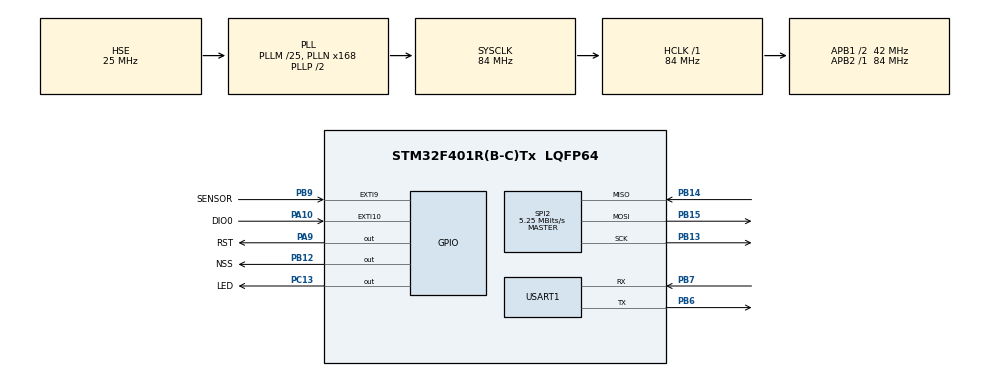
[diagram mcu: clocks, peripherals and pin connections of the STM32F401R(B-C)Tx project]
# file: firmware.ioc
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Mcu.Family=STM32F4
Mcu.Name=STM32F401R(B-C)Tx
Mcu.Package=LQFP64
NVIC.EXTI15_10_IRQn=true\:0\:0\:false\:false\:true\:true\:true\:true
NVIC.EXTI9_5_IRQn=true\:0\:0\:false\:false\:true\:true\:true\:true
NVIC.PriorityGroup=NVIC_PRIORITYGROUP_4
PA10.GPIO_Label=DIO0
PA10.Signal=GPXTI10
PA13.Mode=Serial_Wire
PA13.Signal=SYS_JTMS-SWDIO
PA14.Mode=Serial_Wire
PA14.Signal=SYS_JTCK-SWCLK
PA9.GPIO_Label=RST
PA9.PinState=GPIO_PIN_SET
PA9.Signal=GPIO_Output
PB12.GPIO_Label=NSS
PB12.PinState=GPIO_PIN_SET
PB12.Signal=GPIO_Output
PB13.Mode=Full_Duplex_Master
PB13.Signal=SPI2_SCK
PB14.Mode=Full_Duplex_Master
PB14.Signal=SPI2_MISO
PB15.Mode=Full_Duplex_Master
PB15.Signal=SPI2_MOSI
PB6.Mode=Asynchronous
PB6.Signal=USART1_TX
PB7.Mode=Asynchronous
PB7.Signal=USART1_RX
PB9.GPIO_Label=SENSOR
PB9.GPIO_ModeDefaultEXTI=GPIO_MODE_IT_FALLING
PB9.Signal=GPXTI9
PC13-ANTI_TAMP.GPIO_Label=LED
PC13-ANTI_TAMP.Signal=GPIO_Output
PH0\ -\ OSC_IN.Mode=HSE-External-Oscillator
PH0\ -\ OSC_IN.Signal=RCC_OSC_IN
PH1\ -\ OSC_OUT.Mode=HSE-External-Oscillator
PH1\ -\ OSC_OUT.Signal=RCC_OSC_OUT
ProjectManager.HeapSize=0x200
ProjectManager.StackSize=0x400
ProjectManager.TargetToolchain=Makefile
RCC.48MHZClocksFreq_Value=42000000
RCC.AHBFreq_Value=84000000
RCC.APB1CLKDivider=RCC_HCLK_DIV2
RCC.APB1Freq_Value=42000000
RCC.APB1TimFreq_Value=84000000
RCC.APB2Freq_Value=84000000
RCC.APB2TimFreq_Value=84000000
RCC.CortexFreq_Value=84000000
RCC.HCLKFreq_Value=84000000
RCC.HSE_VALUE=25000000
RCC.HSI_VALUE=16000000
RCC.LSE_VALUE=32768
RCC.PLLM=25
RCC.PLLN=168
RCC.PLLSourceVirtual=RCC_PLLSOURCE_HSE
RCC.SYSCLKFreq_VALUE=84000000
RCC.SYSCLKSource=RCC_SYSCLKSOURCE_PLLCLK
RCC.VCOOutputFreq_Value=168000000
SPI2.BaudRatePrescaler=SPI_BAUDRATEPRESCALER_8
SPI2.CalculateBaudRate=5.25 MBits/s
SPI2.Direction=SPI_DIRECTION_2LINES
SPI2.Mode=SPI_MODE_MASTER
SPI2.VirtualType=VM_MASTER
USART1.VirtualMode=VM_ASYNC
VP_CRC_VS_CRC.Mode=CRC_Activate
board=custom

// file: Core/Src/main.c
/* USER CODE BEGIN Header */
/**
  ******************************************************************************
  * @file           : main.c
  * @brief          : Main program body
  ******************************************************************************
  * @attention
  *
  * Copyright (c) 2024 STMicroelectronics.
  * All rights reserved.
  *
  * This software is licensed under terms that can be found in the LICENSE file
  * in the root directory of this software component.
  * If no LICENSE file comes with this software, it is provided AS-IS.
  *
  ******************************************************************************
  */
/* USER CODE END Header */
#include "main.h"
#include "crc.h"
#include "spi.h"
#include "stm32f4xx_hal.h"
#include "usart.h"
#include "gpio.h"

/* USER CODE BEGIN Includes */
#include <stdint.h>
#include <stdlib.h>

#include "LoRa.h"

#define DEVICE_TYPE_SENSOR
#include "common.h"
/* USER CODE END Includes */

/* USER CODE BEGIN PV */
uint8_t id = DEVICE_ID_INVALID;
uint8_t controller_id = DEVICE_ID_INVALID;
uint32_t mode = MODE_STARTUP;

int32_t lsntp_offset = 0;

/* LoRa object, receive buffer and flag */
LoRa rf;

uint32_t exti_rf = false;
uint32_t exti_rf_timestamp = 0;

uint8_t rf_buf[UINT8_MAX];

/* sensor receive flag */
uint32_t exti_sensor = false;
uint32_t exti_sensor_timestamp = 0;
/* USER CODE END PV */

void SystemClock_Config(void);

/* USER CODE BEGIN 0 */
void HAL_GPIO_EXTI_Callback(uint16_t GPIO_Pin) {
  // sensor detection
  if (GPIO_Pin == SENSOR_Pin) {
    exti_sensor = true;
    exti_sensor_timestamp = HAL_GetTick();
    DEBUG_MSG("sensor %lu\n", exti_sensor_timestamp);
  }

  // RF data received
  else if (GPIO_Pin == DIO0_Pin) {
    exti_rf = true;
    exti_rf_timestamp = HAL_GetTick();
    HAL_GPIO_WritePin(LED_GPIO_Port, LED_Pin, GPIO_PIN_RESET);
    DEBUG_MSG("rcv!\n");
  }
}

int _write(int file, uint8_t *ptr, int len) {
  HAL_UART_Transmit(&huart1, (uint8_t *)ptr, (uint16_t)len, 30);
  return (len);
}
/* USER CODE END 0 */

int main(void)
{

  /* MCU Configuration--------------------------------------------------------*/

  /* Reset of all peripherals, Initializes the Flash interface and the Systick. */
  HAL_Init();

  /* Configure the system clock */
  SystemClock_Config();

  /* Initialize all configured peripherals */
  MX_GPIO_Init();
  MX_SPI2_Init();
  MX_USART1_UART_Init();
  MX_CRC_Init();
  /* USER CODE BEGIN 2 */
  HAL_GPIO_WritePin(LED_GPIO_Port, LED_Pin, GPIO_PIN_SET);

  // get device id
  id = get_device_id();
  DEBUG_MSG("id: %u\n", id);

  // init Ra-01H LoRa transceiver
  rf = newLoRa();
  rf.CS_port = NSS_GPIO_Port;
  rf.CS_pin = NSS_Pin;
  rf.reset_port = RST_GPIO_Port;
  rf.reset_pin = RST_Pin;
  rf.DIO0_port = DIO0_GPIO_Port;
  rf.DIO0_pin = DIO0_Pin;
  rf.hSPIx = &hspi2;

  rf.frequency = 923;             // CH 30 922.9 Mhz
  rf.spredingFactor = SF_7;
  rf.bandWidth = BW_125KHz;
  rf.crcRate = CR_4_5;
  rf.power = POWER_14db;          // 25 mW
  rf.overCurrentProtection = 100; // 100 mA
  rf.preamble = 8;

  if (LoRa_init(&rf) != LORA_OK) {
    DEBUG_MSG("LoRa init failed\n");
    Error_Handler();
  }

  /***** read first 1KB of the SRAM to generate random seed *****/
  uint32_t sum = 0;

  for (uint32_t *i = (uint32_t *)0x20000000; i < (uint32_t *)0x20000400; i++) {
    sum += *i;
  }

  srand(sum);

  /*****************************************************************************
   * FSK-TC SENSOR workflow                                                    *
   *   1. LSNTP time sync x5                                                   *
   *   2. send READY and wait ACK                                              *
   *   3. send REPORT on sensor detection and wait ACK; repeat                 *
   ****************************************************************************/

  /*****************************************************************************
   * 1. do LSNTP 5 times and set offset as average
   ****************************************************************************/
  LoRa_startReceiving(&rf);

LSNTP:
  mode = MODE_LSNTP;

  lora_lsntp_req_t packet;
  packet.header.protocol = LORA_LSNTP_REQ;
  packet.header.sender = id;
  packet.header.receiver = LORA_ID_BROADCAST;

  uint8_t seq = 0;
  int32_t success = 0;
  int32_t retransmit = true;
  int32_t offset[LSNTP_ITER_COUNT];

  DEBUG_MSG("start LSNTP\n");

  while (true) {
    // too many failures
    if (seq > 15) {
      seq = 0;
    }

    if (retransmit) {
      packet.header.sequence = seq;
      packet.client_req_tx = HAL_GetTick();
      lora_set_checksum(&packet.header, sizeof(lora_lsntp_req_t));
      HAL_GPIO_WritePin(LED_GPIO_Port, LED_Pin, GPIO_PIN_RESET);
      LoRa_transmit(&rf, (uint8_t *)&packet, sizeof(lora_lsntp_req_t), LORA_TIMEOUT);
      HAL_GPIO_WritePin(LED_GPIO_Port, LED_Pin, GPIO_PIN_SET);

      DEBUG_MSG("LSNTP req #%u\n", seq);

      seq++;
      retransmit = false;
    }

    // busy wait for the reply
    while (!exti_rf) {
      // 500ms timeout
      if (HAL_GetTick() > packet.client_req_tx + LORA_TIMEOUT) {
        retransmit = true;
        break;
      }
    }

    // timeout; make new request
    if (retransmit) {
      DEBUG_MSG("  timeout!\n");
      HAL_Delay(300 + (rand() & 0xFF));
      continue;
    }

    // parse received packet
    lora_lsntp_res_t *pkt = (lora_lsntp_res_t *)rf_buf;
    uint8_t recv_bytes = LoRa_receive(&rf, rf_buf, sizeof(lora_lsntp_res_t));
    exti_rf = false;
    HAL_GPIO_WritePin(LED_GPIO_Port, LED_Pin, GPIO_PIN_SET);

    // no full packet received
    if (recv_bytes != sizeof(lora_lsntp_res_t)) {
      DEBUG_MSG("  packet length mismatch; received: %u, expected: %u\n", recv_bytes, sizeof(lora_lsntp_res_t));
      continue;
    }

    // checksum or receiver check failure
    int32_t ret = lora_verify(id, &pkt->header, sizeof(lora_lsntp_res_t));

    if (ret != LORA_STATUS_OK || pkt->header.receiver == LORA_ID_BROADCAST) {
      DEBUG_MSG("  packet verify failure; result: %ld\n", ret);
      continue;
    }

    // wrong packet
    if (pkt->header.protocol != LORA_LSNTP_RES || pkt->header.sequence != packet.header.sequence) {
      DEBUG_MSG("  packet mismatch; received: %u(%u), expected: %u(%u)\n",
                pkt->header.protocol, pkt->header.sequence, LORA_LSNTP_RES, packet.header.sequence);
      continue;
    }

    // calculate offset
    offset[success] = lsntp_calc_offset(pkt, exti_rf_timestamp);
    lsntp_offset += offset[success];
    DEBUG_MSG("  offset: %ld\n", offset[success]);

    // set controller id
    controller_id = pkt->header.sender;

    success++;
    retransmit = true;

    if (success >= LSNTP_ITER_COUNT) {
      break;
    }
  }

  lsntp_offset /= LSNTP_ITER_COUNT;

  for (int i = 0; i < LSNTP_ITER_COUNT; i++) {
    // acceptable error: 10ms
    if (
      ((offset[i] > lsntp_offset) && (offset[i] - lsntp_offset > 10)) ||
      ((offset[i] < lsntp_offset) && (lsntp_offset - offset[i] > 10))
    ) {
      goto LSNTP;
    }
  }

  DEBUG_MSG("done LSNTP. controller: %u, offset: %ld\n", controller_id, lsntp_offset);

  /*****************************************************************************
   * 2. send READY and wait for ACK
   ****************************************************************************/
  lora_ready_t ready_packet;
  ready_packet.header.protocol = LORA_READY;
  ready_packet.header.sender = id;
  ready_packet.header.receiver = controller_id;
  ready_packet.offset = lsntp_offset;

  seq = 0;
  retransmit = true;
  uint32_t transmit_time = 0;

  while (true) {
    if (seq > 15) {
      seq = 0;
    }

    ready_packet.header.sequence = seq;
    lora_set_checksum(&ready_packet.header, sizeof(lora_ready_t));
    HAL_GPIO_WritePin(LED_GPIO_Port, LED_Pin, GPIO_PIN_RESET);
    LoRa_transmit(&rf, (uint8_t *)&ready_packet, sizeof(lora_ready_t), LORA_TIMEOUT);
    HAL_GPIO_WritePin(LED_GPIO_Port, LED_Pin, GPIO_PIN_SET);
    transmit_time = HAL_GetTick();

    DEBUG_MSG("READY #%u\n", seq);

    seq++;
    retransmit = false;

    // busy wait for the ACK
    while (!exti_rf) {
      // 500ms timeout
      if (HAL_GetTick() > transmit_time + LORA_TIMEOUT) {
        retransmit = true;
        break;
      }
    }

    if (retransmit) {
      DEBUG_MSG("  timeout!\n");
      HAL_Delay(300 + (rand() & 0xFF));
      continue;
    }

    // parse received packet
    lora_ack_t *pkt = (lora_ack_t *)rf_buf;
    uint8_t recv_bytes = LoRa_receive(&rf, rf_buf, sizeof(lora_ack_t));
    exti_rf = false;
    HAL_GPIO_WritePin(LED_GPIO_Port, LED_Pin, GPIO_PIN_SET);

    // no full packet received
    if (recv_bytes != sizeof(lora_ack_t)) {
      DEBUG_MSG("  packet length mismatch; received: %u, expected: %u\n", recv_bytes, sizeof(lora_ack_t));
      continue;
    }

    // checksum or receiver check failure
    int32_t ret = lora_verify(id, &pkt->header, sizeof(lora_ack_t));

    if (ret != LORA_STATUS_OK || pkt->header.receiver == LORA_ID_BROADCAST) {
      DEBUG_MSG("  packet verify failure; result: %ld\n", ret);
      continue;
    }

    // wrong packet
    if (pkt->header.protocol != LORA_ACK || pkt->header.sequence != ready_packet.header.sequence) {
      DEBUG_MSG("  packet mismatch; received: %u(%u), expected: %u(%u)\n",
                pkt->header.protocol, pkt->header.sequence, LORA_ACK, ready_packet.header.sequence);
      continue;
    }

    break;
  }
  /* USER CODE END 2 */

  /* Infinite loop */
  /* USER CODE BEGIN WHILE */
  /*****************************************************************************
   * 3. send REPORT on sensor detection and wait ACK
   *    NOTE: device will not listen next sensor detection until ACK received
   ****************************************************************************/
  mode = MODE_OPERATION;
  HAL_GPIO_WritePin(LED_GPIO_Port, LED_Pin, GPIO_PIN_RESET);
  HAL_Delay(1000);
  HAL_GPIO_WritePin(LED_GPIO_Port, LED_Pin, GPIO_PIN_SET);

  lora_sensor_report_t report_packet;
  report_packet.header.protocol = LORA_SENSOR_REPORT;
  report_packet.header.sender = id;
  report_packet.header.receiver = controller_id;

  while (1) {
    HAL_Delay(1); // don't know why, but needed

    if (exti_sensor) {
      report_packet.timestamp = exti_sensor_timestamp + lsntp_offset;

      seq = 0;
      retransmit = true;

      while (true) {
        if (seq > 15) {
          seq = 0;
        }

        report_packet.header.sequence = seq;
        lora_set_checksum(&report_packet.header, sizeof(lora_sensor_report_t));
        HAL_GPIO_WritePin(LED_GPIO_Port, LED_Pin, GPIO_PIN_RESET);
        LoRa_transmit(&rf, (uint8_t *)&report_packet, sizeof(lora_sensor_report_t), 500);
        HAL_GPIO_WritePin(LED_GPIO_Port, LED_Pin, GPIO_PIN_SET);
        transmit_time = HAL_GetTick();

        DEBUG_MSG("REPORT #%u %lu\n", seq, report_packet.timestamp);

        seq++;
        retransmit = false;

        // busy wait for the ACK
        while (!exti_rf) {
          // 500ms timeout
          if (HAL_GetTick() > transmit_time + 500) {
            retransmit = true;
            break;
          }
        }

        if (retransmit) {
          DEBUG_MSG("  timeout!\n");
          HAL_Delay(300 + (rand() & 0xFF));
          continue;
        }

        // parse received packet
        lora_ack_t *pkt = (lora_ack_t *)rf_buf;
        uint8_t recv_bytes = LoRa_receive(&rf, rf_buf, sizeof(lora_ack_t));
        exti_rf = false;
        HAL_GPIO_WritePin(LED_GPIO_Port, LED_Pin, GPIO_PIN_SET);

        // no full packet received
        if (recv_bytes != sizeof(lora_ack_t)) {
          DEBUG_MSG("  packet length mismatch; received: %u, expected: %u\n", recv_bytes, sizeof(lora_ack_t));
          continue;
        }

        // checksum or receiver check failure
        int32_t ret = lora_verify(id, &pkt->header, sizeof(lora_ack_t));

        if (ret != LORA_STATUS_OK) {
          DEBUG_MSG("  packet verify failure; result: %ld\n", ret);
          HAL_Delay(rand() & 0xFF);
          continue;
        }

        // wrong packet
        if (
          pkt->header.receiver == LORA_ID_BROADCAST ||
          pkt->header.protocol != LORA_ACK ||
          pkt->header.sequence != report_packet.header.sequence
        ) {
          DEBUG_MSG("  packet mismatch; received: %u(%u), expected: %u(%u)\n",
                    pkt->header.protocol, pkt->header.sequence, LORA_ACK, report_packet.header.sequence);
          continue;
        }

        break;
      }

      exti_sensor = false;
    }

    // somebody else sent something
    else if (exti_rf) {
      exti_rf = false;
      HAL_GPIO_WritePin(LED_GPIO_Port, LED_Pin, GPIO_PIN_SET);
    }
    /* USER CODE END WHILE */

  }
}

void SystemClock_Config(void)
{
  RCC_OscInitTypeDef RCC_OscInitStruct = {0};
  RCC_ClkInitTypeDef RCC_ClkInitStruct = {0};

  /** Configure the main internal regulator output voltage
  */
  __HAL_RCC_PWR_CLK_ENABLE();
  __HAL_PWR_VOLTAGESCALING_CONFIG(PWR_REGULATOR_VOLTAGE_SCALE2);

  /** Initializes the RCC Oscillators according to the specified parameters
  * in the RCC_OscInitTypeDef structure.
  */
  RCC_OscInitStruct.OscillatorType = RCC_OSCILLATORTYPE_HSE;
  RCC_OscInitStruct.HSEState = RCC_HSE_ON;
  RCC_OscInitStruct.PLL.PLLState = RCC_PLL_ON;
  RCC_OscInitStruct.PLL.PLLSource = RCC_PLLSOURCE_HSE;
  RCC_OscInitStruct.PLL.PLLM = 25;
  RCC_OscInitStruct.PLL.PLLN = 168;
  RCC_OscInitStruct.PLL.PLLP = RCC_PLLP_DIV2;
  RCC_OscInitStruct.PLL.PLLQ = 4;
  if (HAL_RCC_OscConfig(&RCC_OscInitStruct) != HAL_OK)
  {
    Error_Handler();
  }

  /** Initializes the CPU, AHB and APB buses clocks
  */
  RCC_ClkInitStruct.ClockType = RCC_CLOCKTYPE_HCLK|RCC_CLOCKTYPE_SYSCLK
                              |RCC_CLOCKTYPE_PCLK1|RCC_CLOCKTYPE_PCLK2;
  RCC_ClkInitStruct.SYSCLKSource = RCC_SYSCLKSOURCE_PLLCLK;
  RCC_ClkInitStruct.AHBCLKDivider = RCC_SYSCLK_DIV1;
  RCC_ClkInitStruct.APB1CLKDivider = RCC_HCLK_DIV2;
  RCC_ClkInitStruct.APB2CLKDivider = RCC_HCLK_DIV1;

  if (HAL_RCC_ClockConfig(&RCC_ClkInitStruct, FLASH_LATENCY_2) != HAL_OK)
  {
    Error_Handler();
  }
}

void Error_Handler(void)
{
  /* USER CODE BEGIN Error_Handler_Debug */
  /* User can add his own implementation to report the HAL error return state */
  DEBUG_MSG("ERROR!\n");

  while (1) {
    HAL_GPIO_TogglePin(LED_GPIO_Port, LED_Pin);
    HAL_Delay(100);
  }
  /* USER CODE END Error_Handler_Debug */
}
